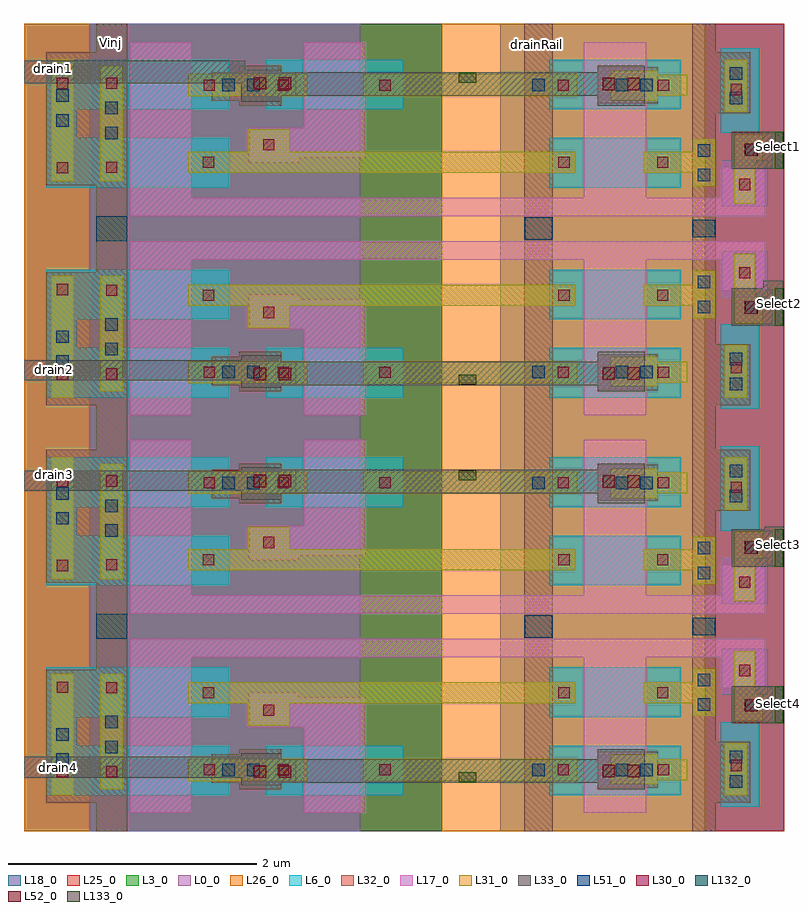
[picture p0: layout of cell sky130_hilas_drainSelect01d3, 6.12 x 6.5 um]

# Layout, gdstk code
import gdstk
lib = gdstk.Library(unit=1e-6, precision=1e-09)
def R(c, l, rs):  # rectangles x0, y0, x1, y1
    for r in rs: c.add(gdstk.rectangle(r[:2], r[2:], *l))
L0_0 = (0, 0)
L3_0 = (3, 0)
L6_0 = (6, 0)
L17_0 = (17, 0)
L18_0 = (18, 0)
L25_0 = (25, 0)
L26_0 = (26, 0)
L30_0 = (30, 0)
L31_0 = (31, 0)
L32_0 = (32, 0)
L33_0 = (33, 0)
L51_0 = (51, 0)
L52_0 = (52, 0)
L132_0 = (132, 0)
L133_0 = (133, 0)

m1_od_cdns_668665076980 = lib.new_cell('M1_OD_CDNS_668665076980')
R(m1_od_cdns_668665076980, L6_0, [(-0.075,-0.075,0.075,0.075)])
R(m1_od_cdns_668665076980, L30_0, [(-0.045,-0.045,0.045,0.045)])
R(m1_od_cdns_668665076980, L31_0, [(-0.085,-0.085,0.085,0.085)])

m1_po_cdns_668665076981 = lib.new_cell('M1_PO_CDNS_668665076981')
R(m1_po_cdns_668665076981, L17_0, [(-0.085,-0.085,0.085,0.085)])
R(m1_po_cdns_668665076981, L30_0, [(-0.045,-0.045,0.045,0.045)])
R(m1_po_cdns_668665076981, L31_0, [(-0.085,-0.085,0.085,0.085)])

m2_m1_cdns_668665076982 = lib.new_cell('M2_M1_CDNS_668665076982')
R(m2_m1_cdns_668665076982, L31_0, [(-0.09,-0.19,0.09,0.19)])
R(m2_m1_cdns_668665076982, L32_0, [(-0.09,-0.19,0.09,0.19)])
R(m2_m1_cdns_668665076982, L51_0, [(-0.05,-0.15,0.05,-0.05), (-0.05,0.05,0.05,0.15)])

m2_m1_cdns_668665076983 = lib.new_cell('M2_M1_CDNS_668665076983')
R(m2_m1_cdns_668665076983, L31_0, [(-0.19,-0.09,0.19,0.09)])
R(m2_m1_cdns_668665076983, L32_0, [(-0.19,-0.09,0.19,0.09)])
R(m2_m1_cdns_668665076983, L51_0, [(-0.15,-0.05,-0.05,0.05), (0.05,-0.05,0.15,0.05)])

m2_m1_cdns_668665076984 = lib.new_cell('M2_M1_CDNS_668665076984')
R(m2_m1_cdns_668665076984, L31_0, [(-0.09,-0.09,0.09,0.09)])
R(m2_m1_cdns_668665076984, L32_0, [(-0.09,-0.09,0.09,0.09)])
R(m2_m1_cdns_668665076984, L51_0, [(-0.05,-0.05,0.05,0.05)])

m3_m2_cdns_668665076985 = lib.new_cell('M3_M2_CDNS_668665076985')
R(m3_m2_cdns_668665076985, L32_0, [(-0.09,-0.09,0.09,0.09)])
R(m3_m2_cdns_668665076985, L33_0, [(-0.09,-0.09,0.09,0.09)])
R(m3_m2_cdns_668665076985, L52_0, [(-0.05,-0.05,0.05,0.05)])

m3_m2_cdns_668665076986 = lib.new_cell('M3_M2_CDNS_668665076986')
R(m3_m2_cdns_668665076986, L32_0, [(-0.19,-0.09,0.19,0.09)])
R(m3_m2_cdns_668665076986, L33_0, [(-0.19,-0.09,0.19,0.09)])
R(m3_m2_cdns_668665076986, L52_0, [(-0.15,-0.05,-0.05,0.05), (0.05,-0.05,0.15,0.05)])

sky130_hilas_tgatevinj01 = lib.new_cell('sky130_hilas_TgateVinj01d3')
R(sky130_hilas_tgatevinj01, L0_0, [(0,0,2.705,1.7), (1.79,0.79,2.16,1.16), (5.615,1.1,5.985,1.47)])
R(sky130_hilas_tgatevinj01, L3_0, [(0,0,3.36,1.7)])
R(sky130_hilas_tgatevinj01, L6_0, [(5.605,0.2,5.915,0.88), (0.18,0.29,0.55,0.69), (0.55,0.29,1.65,0.69), (1.95,0.29,3.05,0.69), (4.225,0.29,5.285,0.69), (0.18,0.66,0.425,0.96), (0.18,0.92,0.55,1.32), (0.55,0.92,1.65,1.32), (4.225,0.92,5.285,1.32)])
R(sky130_hilas_tgatevinj01, L17_0, [(0.85,0.15,1.35,1.4), (2.25,0.15,2.75,0.84), (4.505,0.15,5.005,1.4), (1.81,0.84,2.75,1.08), (1.81,1.08,2.21,1.12), (5.605,1.15,5.965,1.4), (0.85,1.4,5.965,1.55)])
R(sky130_hilas_tgatevinj01, L18_0, [(0,0,3.36,1.7), (3.83,0,6.115,1.7)])
R(sky130_hilas_tgatevinj01, L25_0, [(0.53,0,3.36,0.775), (5.48,0,6.115,1.7), (0.53,0.775,3.36,0.995), (0.53,0.995,3.36,1.7)])
R(sky130_hilas_tgatevinj01, L26_0, [(0,0,0.53,1.7), (3.36,0,5.48,1.7)])
R(sky130_hilas_tgatevinj01, L31_0, [(0.22,0.29,0.4,1.27), (5.64,0.29,5.82,0.71), (0.615,0.34,0.795,1.27), (4.72,0.38,4.765,0.405), (4.765,0.38,5.1,0.41), (1.32,0.405,2.28,0.585), (2.73,0.405,4.45,0.585), (4.765,0.41,5.335,0.58), (4.765,0.58,5.1,0.62), (4.72,0.585,4.765,0.62), (1.8,0.85,2.14,1.03), (5.715,0.89,5.885,0.93), (5.885,0.89,5.945,0.925), (5.715,0.93,5.945,1.1), (1.32,1.03,4.28,1.2), (4.985,1.03,5.56,1.2), (5.715,1.1,5.885,1.45)])
R(sky130_hilas_tgatevinj01, L32_0, [(0.58,0,0.83,0.23), (4.025,0,4.255,1.7), (5.375,0,5.565,0.23), (0.18,0.23,0.19,0.3), (0.19,0.23,0.83,0.3), (5.375,0.23,5.845,0.72), (0.18,0.3,0.83,0.66), (1.73,0.34,2.07,0.39), (4.615,0.35,4.985,0.37), (4.985,0.35,5.035,0.37), (5.035,0.35,5.1,0.405), (4.615,0.37,5.035,0.63), (1.51,0.39,2.07,0.41), (1.51,0.41,2.19,0.58), (1.51,0.58,2.07,0.62), (5.035,0.585,5.1,0.64), (1.73,0.62,2.07,0.66), (4.615,0.63,4.985,0.64), (4.985,0.63,5.035,0.64), (0.18,0.66,0.19,1.3), (0.19,0.66,0.83,1.3), (5.375,0.72,5.565,1.7), (5.705,0.88,6.025,1.16), (0.58,1.3,0.83,1.7)])
R(sky130_hilas_tgatevinj01, L33_0, [(4.615,0.34,4.935,0.39), (4.935,0.34,4.995,0.395), (1.75,0.37,2.07,0.39), (1.75,0.39,4.935,0.58), (4.935,0.575,4.995,0.66), (1.75,0.58,2.07,0.63), (4.615,0.58,4.935,0.66), (5.695,0.87,6.115,1.1), (5.695,1.1,6.035,1.17), (6.035,1.1,6.115,1.17)])
R(sky130_hilas_tgatevinj01, L132_0, [(0.58,1.55,0.83,1.7), (4.03,1.56,4.25,1.69), (5.38,1.58,5.56,1.7)])
R(sky130_hilas_tgatevinj01, L133_0, [(3.5,0.395,3.64,0.475), (6.04,0.87,6.11,1.17)])
sky130_hilas_tgatevinj01.add(gdstk.Reference(m1_od_cdns_668665076980, (5.73,0.53)))
sky130_hilas_tgatevinj01.add(gdstk.Reference(m1_od_cdns_668665076980, (5.145,0.495)))
sky130_hilas_tgatevinj01.add(gdstk.Reference(m1_od_cdns_668665076980, (5.14,1.115)))
sky130_hilas_tgatevinj01.add(gdstk.Reference(m1_od_cdns_668665076980, (4.34,0.495)))
sky130_hilas_tgatevinj01.add(gdstk.Reference(m1_od_cdns_668665076980, (4.345,1.115)))
sky130_hilas_tgatevinj01.add(gdstk.Reference(m1_od_cdns_668665076980, (2.905,0.495)))
sky130_hilas_tgatevinj01.add(gdstk.Reference(m1_od_cdns_668665076980, (2.085,0.495)))
sky130_hilas_tgatevinj01.add(gdstk.Reference(m1_od_cdns_668665076980, (1.485,1.115)))
sky130_hilas_tgatevinj01.add(gdstk.Reference(m1_od_cdns_668665076980, (1.49,0.495)))
sky130_hilas_tgatevinj01.add(gdstk.Reference(m1_od_cdns_668665076980, (0.31,0.48)))
sky130_hilas_tgatevinj01.add(gdstk.Reference(m1_od_cdns_668665076980, (0.705,0.48)))
sky130_hilas_tgatevinj01.add(gdstk.Reference(m1_od_cdns_668665076980, (0.31,1.16)))
sky130_hilas_tgatevinj01.add(gdstk.Reference(m1_od_cdns_668665076980, (0.705,1.155)))
sky130_hilas_tgatevinj01.add(gdstk.Reference(m1_po_cdns_668665076981, (5.8,1.295)))
sky130_hilas_tgatevinj01.add(gdstk.Reference(m1_po_cdns_668665076981, (1.97,0.975)))
sky130_hilas_tgatevinj01.add(gdstk.Reference(m2_m1_cdns_668665076982, (5.73,0.5)))
sky130_hilas_tgatevinj01.add(gdstk.Reference(m2_m1_cdns_668665076982, (0.705,0.78)))
sky130_hilas_tgatevinj01.add(gdstk.Reference(m2_m1_cdns_668665076982, (0.31,0.68)))
sky130_hilas_tgatevinj01.add(gdstk.Reference(m2_m1_cdns_668665076982, (5.47,1.12)))
sky130_hilas_tgatevinj01.add(gdstk.Reference(m2_m1_cdns_668665076983, (4.91,0.495)))
sky130_hilas_tgatevinj01.add(gdstk.Reference(m2_m1_cdns_668665076983, (1.745,0.495)))
sky130_hilas_tgatevinj01.add(gdstk.Reference(m2_m1_cdns_668665076984, (5.855,1.015)))
sky130_hilas_tgatevinj01.add(gdstk.Reference(m2_m1_cdns_668665076984, (4.14,0.495)))
sky130_hilas_tgatevinj01.add(gdstk.Reference(m3_m2_cdns_668665076985, (5.85,1.015)))
sky130_hilas_tgatevinj01.add(gdstk.Reference(m3_m2_cdns_668665076986, (4.805,0.485)))
sky130_hilas_tgatevinj01.add(gdstk.Reference(m3_m2_cdns_668665076986, (2,0.48)))
sky130_hilas_tgatevinj01.add(gdstk.Label('select', (6.075,1.02), layer=133, texttype=0))
sky130_hilas_tgatevinj01.add(gdstk.Label('drain', (3.57,0.405), layer=133, texttype=0))
sky130_hilas_tgatevinj01.add(gdstk.Label('drainRail', (4.14,1.62), layer=132, texttype=0))
sky130_hilas_tgatevinj01.add(gdstk.Label('gnd', (5.47,1.64), layer=132, texttype=0))
sky130_hilas_tgatevinj01.add(gdstk.Label('Vinj', (0.71,1.64), layer=132, texttype=0))

sky130_hilas_drainselect = lib.new_cell('sky130_hilas_drainSelect01d3')
R(sky130_hilas_drainselect, L32_0, [(0.58,6.4,0.83,6.5), (4.025,6.425,4.255,6.5)])
R(sky130_hilas_drainselect, L33_0, [(0,0.43,1.78,0.6), (0,0.43,0.13,0.6), (6.035,0.87,6.115,1.17), (5.96,2.15,6.115,2.45), (0,2.74,2,2.9), (0,2.74,0.12,2.9), (0,3.63,1.78,3.79), (0,3.63,0.13,3.79), (5.95,4.13,6.11,4.43), (5.985,5.395,6.115,5.625), (0,6.02,1.78,6.2), (0,6.02,0.13,6.2)])
sky130_hilas_drainselect.add(gdstk.Reference(sky130_hilas_tgatevinj01, (0,3.3), x_reflection=True))
sky130_hilas_drainselect.add(gdstk.Reference(sky130_hilas_tgatevinj01, (0,0)))
sky130_hilas_drainselect.add(gdstk.Reference(sky130_hilas_tgatevinj01, (0,3.2)))
sky130_hilas_drainselect.add(gdstk.Reference(sky130_hilas_tgatevinj01, (0,6.5), x_reflection=True))
sky130_hilas_drainselect.add(gdstk.Label('drain4', (0.28,0.515), layer=33, texttype=0))
sky130_hilas_drainselect.add(gdstk.Label('Select2', (6.075,4.245), layer=33, texttype=0))
sky130_hilas_drainselect.add(gdstk.Label('Select1', (6.07,5.51), layer=33, texttype=0))
sky130_hilas_drainselect.add(gdstk.Label('drain1', (0.235,6.135), layer=33, texttype=0))
sky130_hilas_drainselect.add(gdstk.Label('drain2', (0.245,3.715), layer=33, texttype=0))
sky130_hilas_drainselect.add(gdstk.Label('Select3', (6.07,2.305), layer=33, texttype=0))
sky130_hilas_drainselect.add(gdstk.Label('Select4', (6.07,1.03), layer=33, texttype=0))
sky130_hilas_drainselect.add(gdstk.Label('drain3', (0.245,2.87), layer=33, texttype=0))
sky130_hilas_drainselect.add(gdstk.Label('drainRail', (4.12,6.33), layer=32, texttype=0))
sky130_hilas_drainselect.add(gdstk.Label('Vinj', (0.695,6.35), layer=32, texttype=0))

lib.write_gds('sky130_hilas_drainSelect01d3.gds')
